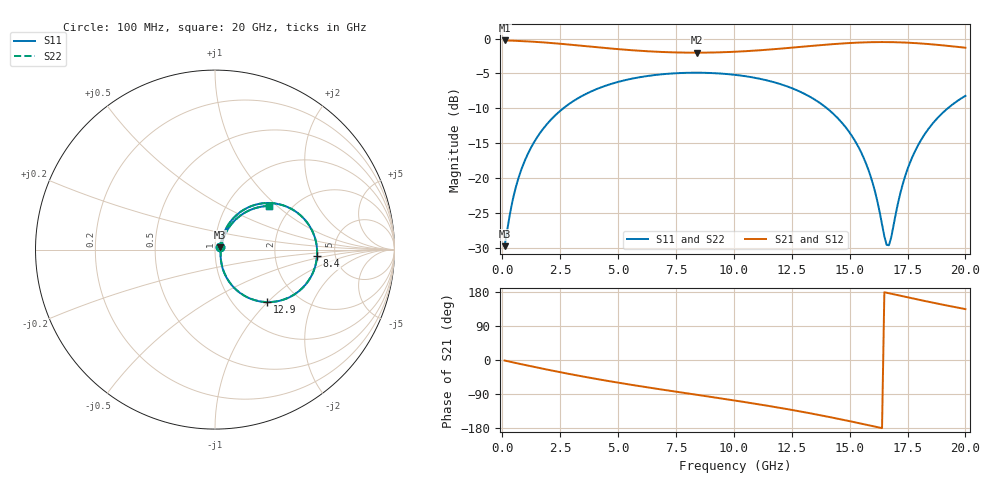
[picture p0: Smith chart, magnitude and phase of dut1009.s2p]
! Touchstone file exported from HFSS 2026.1.0
!  File:  C:/ffzhzh/LocalFiles/Ansys_Project_Files/temp_train_TSV_RDL_1009_1783291128_30076.aedt
!  Generated:  06:48:16 AM Jul  6, 2026
!  Design:  TSV_RDL
!  Project:  temp_train_TSV_RDL_1009_1783291128_30076
! Variables:
!  h_bsmrdl = 2.99um
!  h_ox = 20um
!  h_rdl = 5um
!  h_sub = 83.6um
!  h_tmrdl = 2.42um
!  h_tsv = 83.6um
!  h_via = 3um
!  l_bsmrdl = 712.38um
!  l_sub = 3495.99um
!  l_tmrdl = 211.34um
!  m_sub = 200um
!  pitch = 42.37um
!  r_tsv = 8.46um
!  s_tmrdl = 10um
!  w_bsmrdl = 10.76um
!  w_sub = 500um
!  w_tmrdl = 27.07um
!  x_tsv_center1 = 224.875um
!  x_tsv_center2 = 948.015um
!  x_tsv_center3 = 1186.425um
!  x_tsv_center4 = 1909.565um
!  x_tsv_center5 = 2147.975um
!  x_tsv_center6 = 2871.115um
# GHz S MA R 50.000000
! Terminal data exported
! Port[1] = TM_RDL1_1_T1
! Port[2] = TM_RDL5_1_T1
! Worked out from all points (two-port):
!   200 points, 100 MHz to 20 GHz, reference 50 ohm
!   highest |S21| = -0.26 dB at 100 MHz (marker M1); lowest = -2.0 dB at 8.4 GHz (marker M2)
!   |S21| within 3 dB of the highest: start of sweep to end of sweep
!   lowest |S11| = -29.8 dB at 100 MHz (marker M3), VSWR 1.07, Z = 53 + j1.43 ohm
!   |S11| at or under -10 dB: start of sweep to 2.635 GHz; 14.02 GHz to 19.24 GHz (5.216 GHz wide, 31.4 % of centre)
!   |S22| runs from -29.8 to -4.9 dB; largest |S21 - S12| = 6.8e-14
!   S11 on the Smith chart (normalised r, x): 100 MHz: 1.06, +0.03; 8.4 GHz: 3.60, -0.39; 12.9 GHz: 1.41, -1.00; 20 GHz: 1.56, +0.89
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0.1  0.03235 24.6  0.9708 -1.4  0.9708 -1.4  0.03235 24.6
! Gamma 0 0 0 0
! Port Impedance 50 0 50 0
0.4  0.06334 55.5  0.9678 -5.5  0.9678 -5.5  0.06334 55.5
0.6  0.08766 60.5  0.9648 -8.2  0.9648 -8.2  0.08765 60.5
1.2  0.1602 61.9  0.9538 -16.0  0.9538 -16.0  0.1602 61.9
2.2  0.2725 54.3  0.9284 -28.5  0.9284 -28.5  0.2725 54.3
3.5  0.3923 41.4  0.887 -43.8  0.887 -43.8  0.3923 41.5
5  0.4891 26.8  0.841 -59.8  0.841 -59.8  0.4891 26.8
6.8  0.553 10.3  0.8037 -77.2  0.8037 -77.2  0.553 10.4
8.4  0.5696 -3.6  0.7931 -91.8  0.7931 -91.8  0.5696 -3.6
10.1  0.5485 -18.6  0.8062 -107.5  0.8062 -107.5  0.5485 -18.5
12.9  0.4132 -45.1  0.8734 -136.1  0.8734 -136.1  0.4132 -45.0
13.4  0.3732 -50.1  0.8885 -141.8  0.8885 -141.8  0.3732 -50.1
14.5  0.2673 -61.0  0.9192 -155.1  0.9192 -155.1  0.2673 -60.9
15.4  0.1644 -67.8  0.9376 -166.6  0.9376 -166.6  0.1645 -67.7
15.9  0.1036 -67.4  0.9434 -173.2  0.9434 -173.2  0.1036 -67.1
16.2  0.06774 -60.9  0.9452 -177.2  0.9452 -177.2  0.0679 -60.6
16.5  0.03808 -35.3  0.9455 178.8  0.9455 178.8  0.03841 -34.9
16.7  0.03287 4.9  0.9448 176.2  0.9448 176.2  0.03327 4.9
17.3  0.09093 55.5  0.9391 168.1  0.9391 168.1  0.0911 55.3
17.9  0.1648 57.4  0.9279 160.2  0.9279 160.2  0.1649 57.3
18.8  0.2698 50.6  0.9029 148.7  0.9029 148.7  0.2699 50.6
20  0.3883 38.8  0.8609 134.3  0.8609 134.3  0.3884 38.8
